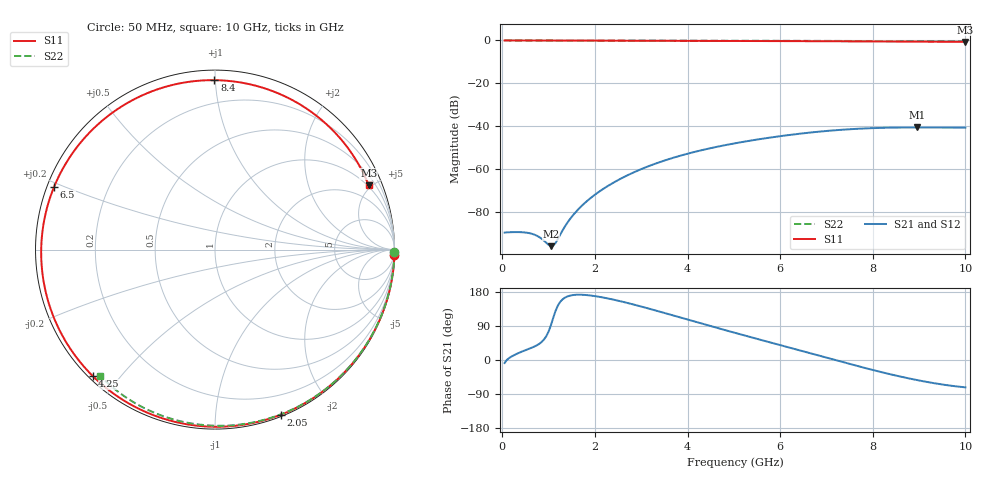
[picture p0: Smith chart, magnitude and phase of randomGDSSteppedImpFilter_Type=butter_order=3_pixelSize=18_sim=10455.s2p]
! freq	dB(S11)	phase(S11)	dB(S12)	phase(S12)
!  dB(S21)	phase(S21)	dB(S22)	phase(S22)
!S-par simulation data
#  GHz  S  DB  R 50
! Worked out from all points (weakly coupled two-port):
!   200 points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, 50 MHz to 10 GHz, reference 50 ohm
!   highest |S21| = -40.50 dB at 8.95 GHz (marker M1); lowest = -95.8 dB at 1.05 GHz (marker M2)
!   lowest |S11| = -0.6 dB at 10 GHz (marker M3), VSWR 26.87, Z = 46.3 + j240 ohm
!   |S11| at or under -10 dB: nowhere
!   |S22| runs from -0.4 to 0.0 dB; largest |S21 - S12| = 0
!   S11 on the Smith chart (normalised r, x): 50 MHz: 0, -66; 2.05 GHz: 0.02, -1.48; 4.25 GHz: 0.01, -0.42; 6.5 GHz: 0.02, +0.19; 8.4 GHz: 0.06, +1.00; 10 GHz: 0.93, +4.80
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0.05  -0.00 -1.7  -89.47 -8.0  -89.47 -8.0  -0.00 -0.8
0.55  -0.02 -18.9  -89.57 28.3  -89.57 28.3  -0.01 -8.4
1.05  -0.04 -35.8  -95.78 91.7  -95.78 91.7  -0.02 -15.9
1.55  -0.07 -52.2  -80.78 171.7  -80.78 171.7  -0.03 -23.4
1.6  -0.07 -53.9  -79.56 172.2  -79.56 172.2  -0.03 -24.1
1.75  -0.07 -58.7  -76.29 172.0  -76.29 172.0  -0.03 -26.4
2.05  -0.09 -68.3  -71.02 167.7  -71.02 167.7  -0.04 -30.8
2.65  -0.11 -86.9  -63.34 152.1  -63.34 152.1  -0.05 -39.5
3.4  -0.14 -109.4  -56.64 127.6  -56.64 127.6  -0.07 -50.2
4.25  -0.18 -134.1  -51.37 98.1  -51.37 98.1  -0.09 -62.0
5.05  -0.23 -157.2  -47.78 70.8  -47.78 70.8  -0.11 -72.7
5.8  -0.28 -179.4  -45.16 45.9  -45.16 45.9  -0.14 -82.4
6.5  -0.33 158.7  -43.23 22.7  -43.23 22.7  -0.17 -91.1
6.7  -0.35 152.2  -42.76 16.1  -42.76 16.1  -0.18 -93.6
7.15  -0.39 137.0  -41.87 1.1  -41.87 1.1  -0.21 -99.1
7.6  -0.43 121.0  -41.21 -13.7  -41.21 -13.7  -0.23 -104.5
8  -0.47 105.9  -40.82 -26.4  -40.82 -26.4  -0.26 -109.3
8.35  -0.50 92.2  -40.61 -36.8  -40.61 -36.8  -0.29 -113.4
8.4  -0.50 90.2  -40.59 -38.3  -40.59 -38.3  -0.29 -114.0
8.95  -0.55 67.5  -40.50 -52.8  -40.50 -52.8  -0.34 -120.3
9.5  -0.60 44.1  -40.54 -64.6  -40.54 -64.6  -0.39 -126.7
10  -0.65 22.7  -40.57 -72.1  -40.57 -72.1  -0.44 -132.4
